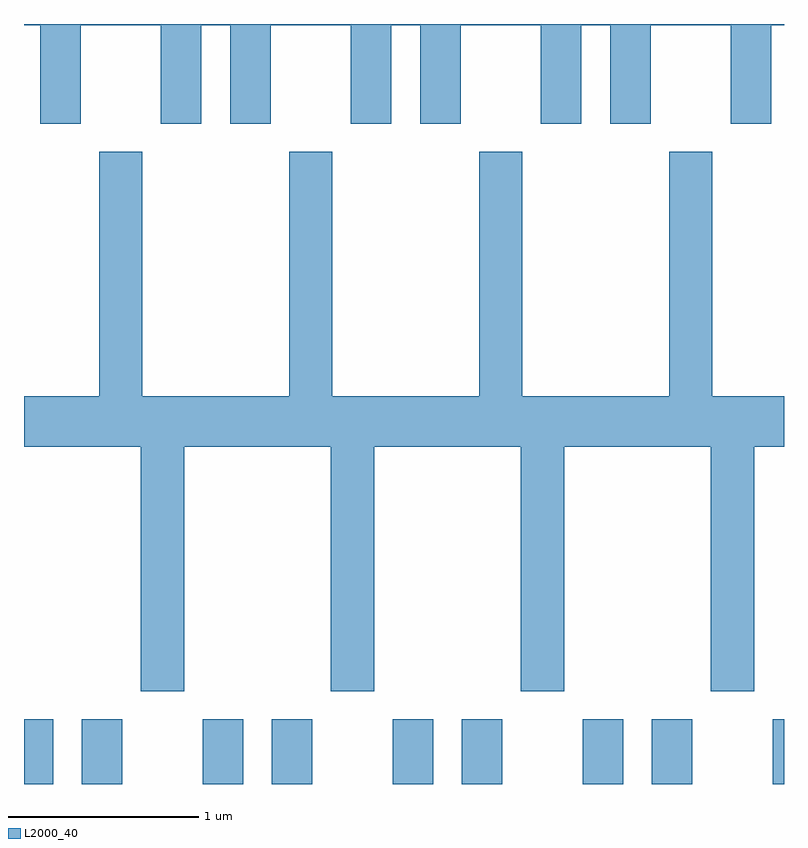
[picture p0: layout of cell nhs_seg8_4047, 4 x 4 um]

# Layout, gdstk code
import gdstk
lib = gdstk.Library(unit=1e-6, precision=1e-09)
def R(c, l, rs):  # rectangles x0, y0, x1, y1
    for r in rs: c.add(gdstk.rectangle(r[:2], r[2:], *l))
def P(c, l, *ps):  # polygons
    for p in ps: c.add(gdstk.Polygon(p, *l))
L2000_40 = (2000, 40)

nhs_seg8_4047 = lib.new_cell('nhs_seg8_4047')
R(nhs_seg8_4047, L2000_40, [(305.611,1912.342,305.764,1912.684), (305.916,1912.342,306.129,1912.684), (306.551,1912.342,306.764,1912.684), (306.916,1912.342,307.129,1912.684), (307.551,1912.342,307.764,1912.684), (307.916,1912.342,308.129,1912.684), (308.551,1912.342,308.764,1912.684), (308.916,1912.342,309.129,1912.684), (309.551,1912.342,309.611,1912.684)])
P(nhs_seg8_4047, L2000_40, [(305.909,1916.336),(306.331,1916.336),(306.331,1915.816),(306.544,1915.816),(306.544,1916.336),(306.696,1916.336),(306.696,1915.816),(306.909,1915.816),(306.909,1916.336),(307.331,1916.336),(307.331,1915.816),(307.544,1915.816),(307.544,1916.336),(307.696,1916.336),(307.696,1915.816),(307.909,1915.816),(307.909,1916.336),(308.331,1916.336),(308.331,1915.816),(308.544,1915.816),(308.544,1916.336),(308.696,1916.336),(308.696,1915.816),(308.909,1915.816),(308.909,1916.336),(309.331,1916.336),(309.331,1915.816),(309.544,1915.816),(309.544,1916.336),(309.611,1916.336),(309.611,1916.342),(305.611,1916.342),(305.611,1916.336),(305.696,1916.336),(305.696,1915.816),(305.909,1915.816)],
  [(306.454,1914.116),(307.226,1914.116),(307.226,1912.831),(307.454,1912.831),(307.454,1914.116),(308.226,1914.116),(308.226,1912.831),(308.454,1912.831),(308.454,1914.116),(309.226,1914.116),(309.226,1912.831),(309.454,1912.831),(309.454,1914.116),(309.611,1914.116),(309.611,1914.384),(309.234,1914.384),(309.234,1915.669),(309.006,1915.669),(309.006,1914.384),(308.234,1914.384),(308.234,1915.669),(308.006,1915.669),(308.006,1914.384),(307.234,1914.384),(307.234,1915.669),(307.006,1915.669),(307.006,1914.384),(306.234,1914.384),(306.234,1915.669),(306.006,1915.669),(306.006,1914.384),(305.611,1914.384),(305.611,1914.116),(306.226,1914.116),(306.226,1912.831),(306.454,1912.831)])

lib.write_gds('nhs_seg8_4047.gds')
